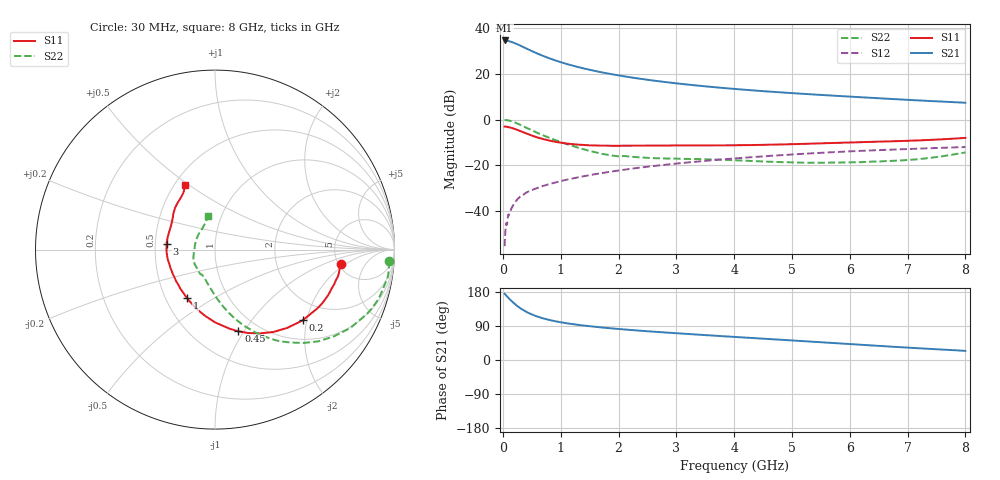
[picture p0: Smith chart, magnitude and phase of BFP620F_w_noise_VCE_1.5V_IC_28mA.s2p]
! Infineon Technologies  Discrete & RF Semiconductors
! BFP620F
! VCE =  1.5 V,  IC =  28 mA
! Common Emitter S-Parameters:  Dec 2014
# GHz  S  MA  R  50
!  f  S11  S21  S12  S22
! GHz  MAG  ANG  MAG  ANG  MAG  ANG  MAG  ANG
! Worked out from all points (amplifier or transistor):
!   95 points, 30 MHz to 8 GHz, reference 50 ohm
!   highest |S21| = 34.6 dB at 30 MHz (marker M1)
!   |S21| within 3 dB of that: start of sweep to 362.5 MHz
!   unconditionally stable (mu >= 1): 2.574 GHz to end of sweep
!   at 300 MHz: K = 0.36, MSG = 33.1 dB, |S12| = -33.7 dB
!   at 3.3 GHz: K = 1.02, MAG = 15.9 dB, |S12| = -18.5 dB
!   at 8 GHz: K = 1.06, MAG = 8.2 dB, |S12| = -12.0 dB
!   lowest NFmin = 1.08 dB at 450 MHz
!   S11 on the Smith chart (normalised r, x): 30 MHz: 5.23, -1.63; 200 MHz: 1.45, -1.89; 450 MHz: 0.80, -0.95; 1 GHz: 0.64, -0.39; 3 GHz: 0.57, +0.04; 8 GHz: 0.56, +0.49
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0.03  0.7038 -6.4  53.93 174.9  0.0017 97.3  0.971 -3.8
0.07  0.6946 -14.2  53.35 168.2  0.005 88.1  0.9697 -10.3
0.11  0.6783 -22.5  51.83 161.6  0.0088 85.2  0.9504 -17.0
0.15  0.6573 -30.0  50.07 155.7  0.0115 78.0  0.919 -23.0
0.2  0.6277 -38.9  47.33 148.8  0.015 74.5  0.8718 -30.0
0.25  0.5944 -47.1  44.52 142.4  0.018 71.5  0.8204 -36.1
0.3  0.5625 -54.7  41.69 136.9  0.0206 69.1  0.7689 -41.7
0.35  0.53 -61.7  38.83 132.0  0.0225 67.6  0.7169 -46.5
0.45  0.4739 -74.0  33.86 123.7  0.027 64.8  0.6251 -54.8
0.5  0.4484 -79.5  31.64 120.3  0.0287 64.3  0.5838 -58.2
0.6  0.4063 -89.7  27.77 114.4  0.032 63.2  0.511 -64.2
0.7  0.3741 -98.3  24.64 109.7  0.0355 62.6  0.4516 -69.4
0.8  0.3489 -106.1  22.02 105.8  0.0388 62.5  0.4015 -73.8
1  0.3132 -119.8  18.08 99.6  0.0451 62.4  0.3242 -81.4
1.4  0.2789 -141.1  13.17 90.9  0.0577 62.2  0.2238 -95.3
2  0.2672 -163.6  9.283 81.9  0.077 60.9  0.1574 -117.5
2.7  0.2704 179.2  6.902 73.8  0.0994 58.3  0.1423 -137.2
3  0.2714 173.1  6.224 70.6  0.1092 56.8  0.1401 -143.3
4.1  0.2755 155.6  4.589 60.0  0.1443 50.7  0.1276 -160.0
5.4  0.2997 141.3  3.531 47.8  0.1846 42.1  0.1142 171.1
6.7  0.3346 128.1  2.84 35.4  0.2197 32.7  0.1246 137.5
8  0.3985 114.7  2.342 24.1  0.2509 23.4  0.1911 101.2
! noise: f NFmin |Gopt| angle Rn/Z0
0.45  1.08  0.03  -173  0.19
0.9  1.11  0.04  -171  0.15
1.5  1.12  0.08  -149  0.15
1.8  1.14  0.08  -147  0.17
1.9  1.14  0.08  -146  0.15
2.4  1.16  0.09  -146  0.17
3.5  1.23  0.12  -142  0.17
5.5  1.38  0.2  239  0.13
6  1.42  0.2  259  0.15
